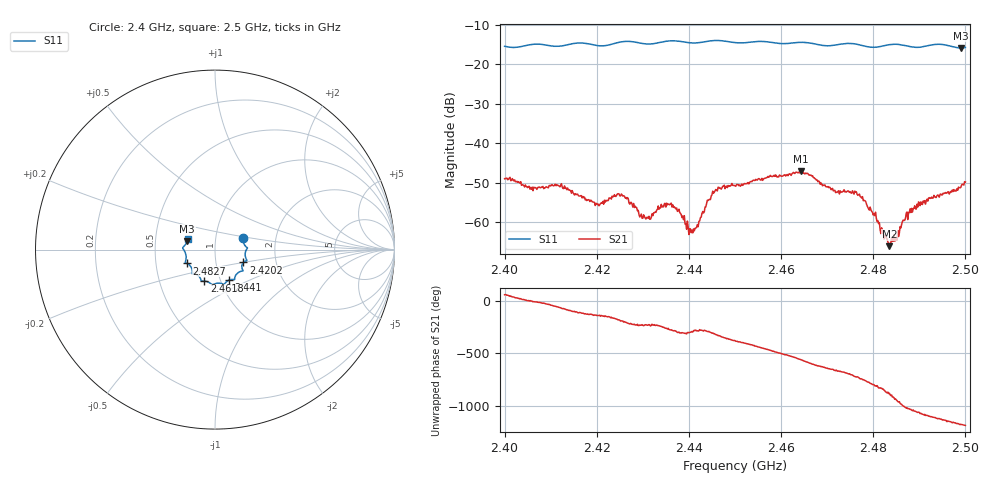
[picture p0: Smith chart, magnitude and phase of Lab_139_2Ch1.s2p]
# Hz S RI R 50
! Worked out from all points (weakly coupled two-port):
!   601 points, 2.4 GHz to 2.5 GHz, reference 50 ohm
!   highest |S21| = -47.12 dB at 2.4643 GHz (marker M1); lowest = -66.1 dB at 2.4835 GHz (marker M2)
!   lowest |S11| = -15.8 dB at 2.499 GHz (marker M3), VSWR 1.39, Z = 36.4 + j3.52 ohm
!   |S11| at or under -10 dB: start of sweep to end of sweep
!   S12 and S22 are empty: the file has one direction only
!   S11 on the Smith chart (normalised r, x): 2.4 GHz: 1.36, +0.17; 2.4202 GHz: 1.36, -0.20; 2.441 GHz: 1.10, -0.39; 2.4618 GHz: 0.84, -0.30; 2.4827 GHz: 0.72, -0.12; 2.5 GHz: 0.73, +0.09
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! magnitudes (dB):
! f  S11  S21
! 2.4 GHz  -15.4  -49.0
! 2.4167 GHz  -14.5  -53.3
! 2.4202 GHz  -15.2  -55.5
! 2.425 GHz  -14.3  -53.3
! 2.4303 GHz  -14.8  -58.6
! 2.4333 GHz  -14.5  -55.9
! 2.4365 GHz  -14.0  -55.6
! 2.441 GHz  -14.6  -61.7
! 2.4453 GHz  -14.0  -52.7
! 2.45 GHz  -14.5  -50.8
! 2.4618 GHz  -14.6  -47.7
! 2.4643 GHz  -14.4  -47.1
! 2.4667 GHz  -14.6  -48.3
! 2.4718 GHz  -15.1  -52.5
! 2.4765 GHz  -14.9  -52.9
! 2.4827 GHz  -15.2  -63.4
! 2.4833 GHz  -15.0  -65.2
! 2.4835 GHz  -15.0  -66.1
! 2.4852 GHz  -14.9  -64.6
! 2.4885 GHz  -15.6  -57.4
! 2.499 GHz  -15.8  -51.2
! 2.5 GHz  -15.7  -49.8
